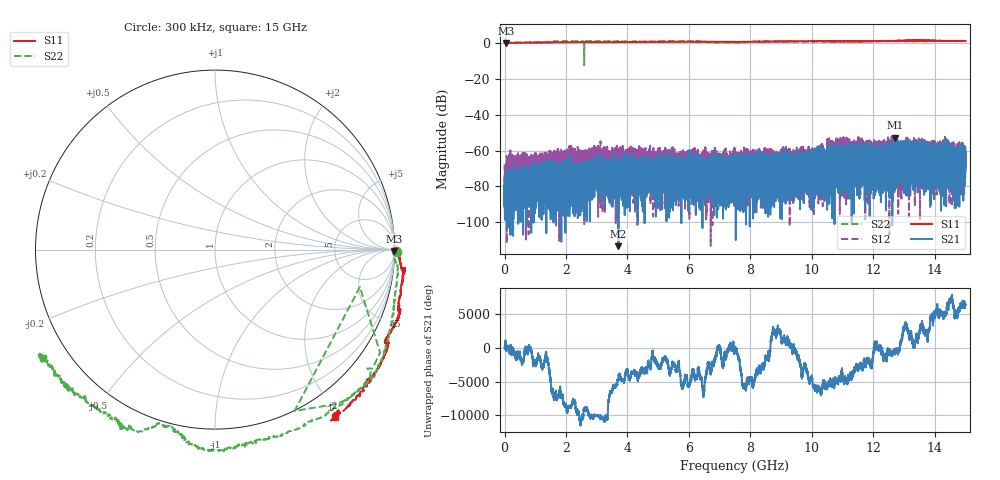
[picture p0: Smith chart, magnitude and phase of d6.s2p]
!Agilent Technologies,N5230C,SG49000117,A.08.50.07
!Agilent N5230C: A.08.50.07
!Date: Friday, May 17, 2024 08:01:45
!Correction: S11(Full 2 Port(1,2))
!S21(Full 2 Port(1,2))
!S12(Full 2 Port(1,2))
!S22(Full 2 Port(1,2))
!S2P File: Measurements: S11, S21, S12, S22:
# Hz S  MA  R 50
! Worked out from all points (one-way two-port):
!   20001 points, 300 kHz to 15 GHz, reference 50 ohm
!   highest |S21| = -52.79 dB at 12.71 GHz (marker M1); lowest = -113.4 dB at 3.707 GHz (marker M2)
!   lowest |S11| = 0.0 dB at 41.55 MHz (marker M3)
!   |S11| at or under -10 dB: nowhere
!   |S22| runs from -12.4 to 1.2 dB; largest |S21 - S12| = 0.0036
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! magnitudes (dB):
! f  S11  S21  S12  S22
! 300 kHz  0.1  -91.2  -67.9  0.1
! 41.55 MHz  0.0  -73.2  -96.9  0.0
! 1.742 GHz  0.4  -78.8  -59.2  0.9
! 2.098 GHz  0.5  -75.0  -68.4  1.0
! 2.501 GHz  0.5  -76.4  -70.6  1.0
! 3 GHz  0.5  -62.6  -66.2  0.9
! 3.332 GHz  0.5  -70.6  -67.8  0.9
! 3.707 GHz  0.5  -113.4  -67.3  0.8
! 4.01 GHz  0.5  -69.5  -61.6  0.8
! 4.159 GHz  0.6  -65.0  -76.0  0.7
! 4.352 GHz  0.6  -70.0  -63.0  0.7
! 5 GHz  0.7  -66.5  -62.2  0.8
! 6.405 GHz  0.7  -85.1  -66.7  0.8
! 7.5 GHz  0.7  -70.6  -64.7  0.2
! 10 GHz  1.0  -65.0  -71.4  0.9
! 10.42 GHz  1.0  -66.8  -76.5  0.8
! 10.58 GHz  1.0  -64.1  -60.5  0.9
! 12.5 GHz  1.2  -67.2  -69.2  1.0
! 12.71 GHz  1.2  -52.8  -60.8  1.0
! 14.4 GHz  1.1  -62.1  -56.8  1.2
! 14.71 GHz  1.1  -64.1  -59.2  1.1
! 15 GHz  1.1  -63.5  -58.1  1.1
